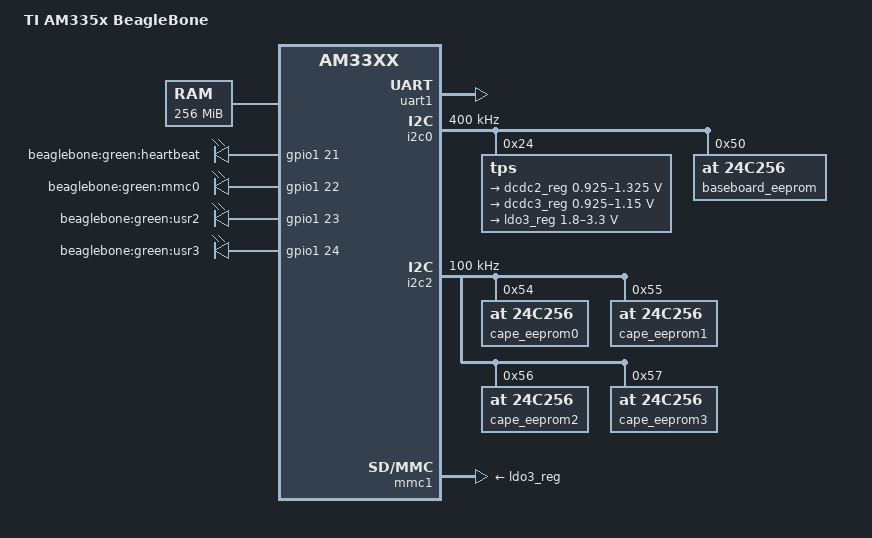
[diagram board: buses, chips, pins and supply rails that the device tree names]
/*
 * Copyright (C) 2012 Texas Instruments Incorporated - http://www.ti.com/
 *
 * This program is free software; you can redistribute it and/or modify
 * it under the terms of the GNU General Public License version 2 as
 * published by the Free Software Foundation.
 */
/dts-v1/;

/include/ "am33xx.dtsi"

/ {
	model = "TI AM335x BeagleBone";
	compatible = "ti,am335x-bone", "ti,am33xx";

	cpus {
		cpu@0 {
			cpu0-supply = <&dcdc2_reg>;
		};
	};

	memory {
		device_type = "memory";
		reg = <0x80000000 0x10000000>; /* 256 MB */
	};

	am33xx_pinmux: pinmux@44e10800 {
		pinctrl-names = "default";
		pinctrl-0 = <&user_leds_s0>;

		user_leds_s0: user_leds_s0 {
			pinctrl-single,pins = <
				0x54 0x7	/* gpmc_a5.gpio1_21, OUTPUT | MODE7 */
				0x58 0x17	/* gpmc_a6.gpio1_22, OUTPUT_PULLUP | MODE7 */
				0x5c 0x7	/* gpmc_a7.gpio1_23, OUTPUT | MODE7 */
				0x60 0x17	/* gpmc_a8.gpio1_24, OUTPUT_PULLUP | MODE7 */
			>;
		};
		i2c0_pins: pinmux_i2c0_pins {
			pinctrl-single,pins = <
				0x188 0x70 	/* i2c0_sda, SLEWCTRL_SLOW | INPUT_PULLUP | MODE0 */
				0x18c 0x70	/* i2c0_scl, SLEWCTRL_SLOW | INPUT_PULLUP | MODE0 */
			>;
		};
		i2c2_pins: pinmux_i2c2_pins {
			pinctrl-single,pins = <
				0x178 0x73 	/* uart1_ctsn.i2c2_sda, SLEWCTRL_SLOW | INPUT_PULLUP | MODE3 */
				0x17c 0x73	/* uart1_rtsn.i2c2_scl, SLEWCTRL_SLOW | INPUT_PULLUP | MODE3 */
			>;
		};
	};

	ocp {
		uart1: serial@44e09000 {
			status = "okay";
		};

		i2c0: i2c@44e0b000 {
			pinctrl-names = "default";
			pinctrl-0 = <&i2c0_pins>;
			status = "okay";
			clock-frequency = <400000>;

			tps: tps@24 {
				reg = <0x24>;
			};

			baseboard_eeprom: baseboard_eeprom@50 {
				compatible = "at,24c256";
				reg = <0x50>;
			};
		};

		i2c2: i2c@4819c000 {
			pinctrl-names = "default";
			pinctrl-0 = <&i2c2_pins>;
			status = "okay";
			clock-frequency = <100000>;

			cape_eeprom0: cape_eeprom0@54 {
				compatible = "at,24c256";
				reg = <0x54>;
			};

			cape_eeprom1: cape_eeprom1@55 {
				compatible = "at,24c256";
				reg = <0x55>;
			};

			cape_eeprom2: cape_eeprom2@56 {
				compatible = "at,24c256";
				reg = <0x56>;
			};

			cape_eeprom3: cape_eeprom3@57 {
				compatible = "at,24c256";
				reg = <0x57>;
			};
		};

	};

	leds {
		compatible = "gpio-leds";

		led@2 {
			label = "beaglebone:green:heartbeat";
			gpios = <&gpio1 21 0>;
			linux,default-trigger = "heartbeat";
			default-state = "off";
		};

		led@3 {
			label = "beaglebone:green:mmc0";
			gpios = <&gpio1 22 0>;
			linux,default-trigger = "mmc0";
			default-state = "off";
		};

		led@4 {
			label = "beaglebone:green:usr2";
			gpios = <&gpio1 23 0>;
			default-state = "off";
		};

		led@5 {
			label = "beaglebone:green:usr3";
			gpios = <&gpio1 24 0>;
			default-state = "off";
		};
	};
};

/include/ "tps65217.dtsi"

&tps {
	regulators {
		dcdc1_reg: regulator@0 {
			regulator-always-on;
		};

		dcdc2_reg: regulator@1 {
			/* VDD_MPU voltage limits 0.95V - 1.26V with +/-4% tolerance */
			regulator-name = "vdd_mpu";
			regulator-min-microvolt = <925000>;
			regulator-max-microvolt = <1325000>;
			regulator-boot-on;
			regulator-always-on;
		};

		dcdc3_reg: regulator@2 {
			/* VDD_CORE voltage limits 0.95V - 1.1V with +/-4% tolerance */
			regulator-name = "vdd_core";
			regulator-min-microvolt = <925000>;
			regulator-max-microvolt = <1150000>;
			regulator-boot-on;
			regulator-always-on;
		};

		ldo1_reg: regulator@3 {
			regulator-always-on;
		};

		ldo2_reg: regulator@4 {
			regulator-always-on;
		};

		ldo3_reg: regulator@5 {
			regulator-min-microvolt = <1800000>;
			regulator-max-microvolt = <3300000>;
			regulator-always-on;
		};

		ldo4_reg: regulator@6 {
			regulator-always-on;
		};
	};
};

&cpsw_emac0 {
	phy_id = <&davinci_mdio>, <0>;
};

&cpsw_emac1 {
	phy_id = <&davinci_mdio>, <1>;
};

&mmc1 {
	status = "okay";
	vmmc-supply = <&ldo3_reg>;
};
